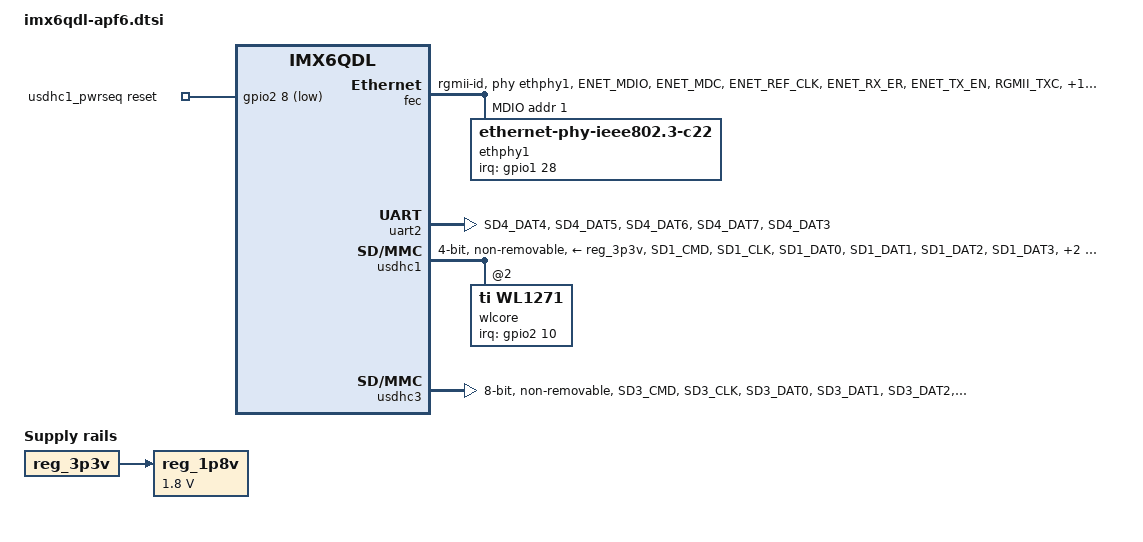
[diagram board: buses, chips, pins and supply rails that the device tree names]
// SPDX-License-Identifier: GPL-2.0+ OR MIT
//
// Copyright 2015 Armadeus Systems <support@armadeus.com>

#include <dt-bindings/gpio/gpio.h>
#include <dt-bindings/interrupt-controller/irq.h>

/ {
	reg_1p8v: regulator-1p8v {
		compatible = "regulator-fixed";
		regulator-name = "1P8V";
		regulator-min-microvolt = <1800000>;
		regulator-max-microvolt = <1800000>;
		regulator-always-on;
		vin-supply = <&reg_3p3v>;
	};

	usdhc1_pwrseq: usdhc1-pwrseq {
		compatible = "mmc-pwrseq-simple";
		reset-gpios = <&gpio2 8 GPIO_ACTIVE_LOW>;
		post-power-on-delay-ms = <15>;
		power-off-delay-us = <70>;
	};
};

&fec {
	pinctrl-names = "default";
	pinctrl-0 = <&pinctrl_enet>;
	phy-mode = "rgmii-id";
	phy-reset-duration = <10>;
	phy-reset-gpios = <&gpio1 24 GPIO_ACTIVE_LOW>;
	phy-handle = <&ethphy1>;
	status = "okay";

	mdio {
		#address-cells = <1>;
		#size-cells = <0>;

		ethphy1: ethernet-phy@1 {
			compatible = "ethernet-phy-ieee802.3-c22";
			reg = <1>;
			interrupt-parent = <&gpio1>;
			interrupts = <28 IRQ_TYPE_LEVEL_LOW>;
			status = "okay";
		};
	};
};

/* Bluetooth */
&uart2 {
	pinctrl-names = "default";
	pinctrl-0 = <&pinctrl_uart2>;
	uart-has-rtscts;
	status = "okay";
};

/* Wi-Fi */
&usdhc1 {
	pinctrl-names = "default";
	pinctrl-0 = <&pinctrl_usdhc1>;
	bus-width = <4>;
	mmc-pwrseq = <&usdhc1_pwrseq>;
	vmmc-supply = <&reg_3p3v>;
	vqmmc-supply = <&reg_1p8v>;
	cap-power-off-card;
	keep-power-in-suspend;
	non-removable;
	status = "okay";

	#address-cells = <1>;
	#size-cells = <0>;
	wlcore: wlcore@2 {
		compatible = "ti,wl1271";
		reg = <2>;
		interrupt-parent = <&gpio2>;
		interrupts = <10 IRQ_TYPE_LEVEL_HIGH>;
		ref-clock-frequency = <38400000>;
		tcxo-clock-frequency = <38400000>;
	};
};

/* eMMC */
&usdhc3 {
	pinctrl-names = "default";
	pinctrl-0 = <&pinctrl_usdhc3>;
	bus-width = <8>;
	no-1-8-v;
	non-removable;
	status = "okay";
};

&iomuxc {
	pinctrl_enet: enetgrp {
		fsl,pins = <
			MX6QDL_PAD_ENET_MDIO__ENET_MDIO		0x1b8b0
			MX6QDL_PAD_ENET_MDC__ENET_MDC		0x1b0b0
			MX6QDL_PAD_ENET_REF_CLK__ENET_TX_CLK	0x1b0b0
			MX6QDL_PAD_ENET_RX_ER__GPIO1_IO24	0x130b0
			MX6QDL_PAD_ENET_TX_EN__GPIO1_IO28	0x130b0
			MX6QDL_PAD_RGMII_TXC__RGMII_TXC		0x1b030
			MX6QDL_PAD_RGMII_TD0__RGMII_TD0		0x1b030
			MX6QDL_PAD_RGMII_TD1__RGMII_TD1		0x1b030
			MX6QDL_PAD_RGMII_TD2__RGMII_TD2		0x1b030
			MX6QDL_PAD_RGMII_TD3__RGMII_TD3		0x1b030
			MX6QDL_PAD_RGMII_TX_CTL__RGMII_TX_CTL	0x1b030
			MX6QDL_PAD_RGMII_RXC__RGMII_RXC		0x13030
			MX6QDL_PAD_RGMII_RD0__RGMII_RD0		0x1b030
			MX6QDL_PAD_RGMII_RD1__RGMII_RD1		0x13030
			MX6QDL_PAD_RGMII_RD2__RGMII_RD2		0x1f030
			MX6QDL_PAD_RGMII_RD3__RGMII_RD3		0x1f030
			MX6QDL_PAD_RGMII_RX_CTL__RGMII_RX_CTL	0x13030
		>;
	};

	pinctrl_uart2: uart2grp {
		fsl,pins = <
			MX6QDL_PAD_SD4_DAT4__UART2_RX_DATA	0x1b0b0
			MX6QDL_PAD_SD4_DAT5__UART2_RTS_B	0x1b0b0
			MX6QDL_PAD_SD4_DAT6__UART2_CTS_B	0x1b0b0
			MX6QDL_PAD_SD4_DAT7__UART2_TX_DATA	0x1b0b0
			MX6QDL_PAD_SD4_DAT3__GPIO2_IO11		0x130b0 /* BT_EN */
		>;
	};

	pinctrl_usdhc1: usdhc1grp {
		fsl,pins = <
			MX6QDL_PAD_SD1_CMD__SD1_CMD	0x17059
			MX6QDL_PAD_SD1_CLK__SD1_CLK	0x10059
			MX6QDL_PAD_SD1_DAT0__SD1_DATA0	0x17059
			MX6QDL_PAD_SD1_DAT1__SD1_DATA1	0x17059
			MX6QDL_PAD_SD1_DAT2__SD1_DATA2	0x17059
			MX6QDL_PAD_SD1_DAT3__SD1_DATA3	0x17059
			MX6QDL_PAD_SD4_DAT0__GPIO2_IO08	0x130b0 /* WL_EN */
			MX6QDL_PAD_SD4_DAT2__GPIO2_IO10	0x130b0 /* WL_IRQ */
		>;
	};

	pinctrl_usdhc3: usdhc3grp {
		fsl,pins = <
			MX6QDL_PAD_SD3_CMD__SD3_CMD	0x17059
			MX6QDL_PAD_SD3_CLK__SD3_CLK	0x10059
			MX6QDL_PAD_SD3_DAT0__SD3_DATA0	0x17059
			MX6QDL_PAD_SD3_DAT1__SD3_DATA1	0x17059
			MX6QDL_PAD_SD3_DAT2__SD3_DATA2	0x17059
			MX6QDL_PAD_SD3_DAT3__SD3_DATA3	0x17059
			MX6QDL_PAD_SD3_DAT4__SD3_DATA4	0x17059
			MX6QDL_PAD_SD3_DAT5__SD3_DATA5	0x17059
			MX6QDL_PAD_SD3_DAT6__SD3_DATA6	0x17059
			MX6QDL_PAD_SD3_DAT7__SD3_DATA7	0x17059
		>;
	};
};
